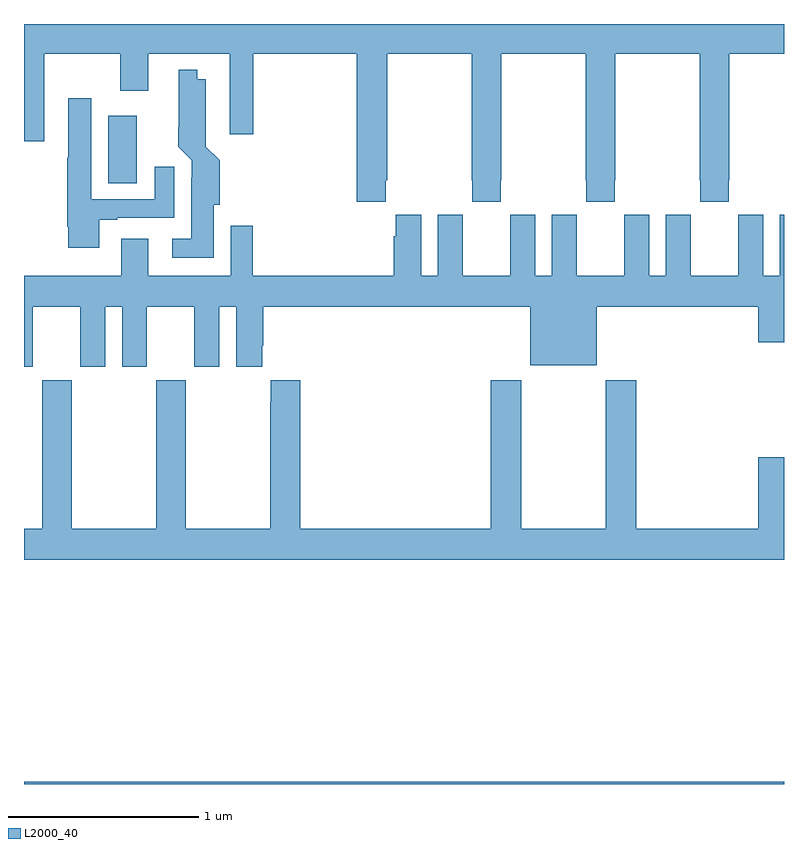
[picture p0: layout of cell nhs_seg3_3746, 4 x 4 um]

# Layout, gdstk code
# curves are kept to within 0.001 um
import gdstk
lib = gdstk.Library(unit=1e-6, precision=1e-09)
def R(c, l, rs):  # rectangles x0, y0, x1, y1
    for r in rs: c.add(gdstk.rectangle(r[:2], r[2:], *l))
def P(c, l, *ps):  # polygons
    for p in ps: c.add(gdstk.Polygon(p, *l))
L2000_40 = (2000, 40)

nhs_seg3_3746 = lib.new_cell('nhs_seg3_3746')
R(nhs_seg3_3746, L2000_40, [(305,702.4,309,702.412), (305.444,705.562,305.593,705.916)])
P(nhs_seg3_3746, L2000_40, [(308.557,705.577),(308.559,705.577),(308.559,705.465),(308.709,705.465),(308.709,705.577),(308.712,705.577),(308.712,706.244),(309,706.244),(309,706.4),(305,706.4),(305,705.783),(305.107,705.783),(305.107,706.244),(305.506,706.244),(305.506,706.05),(305.653,706.05),(305.653,706.244),(306.083,706.244),(306.083,705.819),(306.206,705.819),(306.206,706.244),(306.752,706.244),(306.752,705.465),(306.905,705.465),(306.905,705.577),(306.912,705.577),(306.912,706.244),(307.357,706.244),(307.357,705.577),(307.359,705.577),(307.359,705.465),(307.509,705.465),(307.509,705.577),(307.512,705.577),(307.512,706.244),(307.957,706.244),(307.957,705.577),(307.959,705.577),(307.959,705.465),(308.109,705.465),(308.109,705.577),(308.112,705.577),(308.112,706.244),(308.557,706.244)],
  [(305.998,705.45),(306.029,705.45),(306.029,705.682),(305.957,705.754),(305.956,706.108),(305.911,706.108),(305.911,706.159),(305.814,706.159),(305.813,705.754),(305.883,705.684),(305.883,705.59),(305.879,705.59),(305.879,705.271),(305.781,705.271),(305.781,705.17),(305.998,705.17)],
  [(305.395,705.369),(305.491,705.369),(305.491,705.381),(305.791,705.381),(305.791,705.649),(305.687,705.649),(305.687,705.477),(305.353,705.477),(305.353,706.009),(305.234,706.009),(305.234,705.695),(305.227,705.695),(305.227,705.334),(305.234,705.334),(305.234,705.222),(305.395,705.222)],
  [(309,705.397),(308.978,705.397),(308.978,705.076),(308.89,705.076),(308.89,705.397),(308.76,705.397),(308.76,705.284),(308.759,705.284),(308.759,705.076),(308.509,705.076),(308.509,705.284),(308.508,705.284),(308.508,705.397),(308.378,705.397),(308.378,705.076),(308.29,705.076),(308.29,705.397),(308.16,705.397),(308.16,705.284),(308.159,705.284),(308.159,705.076),(307.909,705.076),(307.909,705.284),(307.908,705.284),(307.908,705.397),(307.778,705.397),(307.778,705.076),(307.69,705.076),(307.69,705.397),(307.56,705.397),(307.56,705.284),(307.559,705.284),(307.559,705.076),(307.309,705.076),(307.309,705.284),(307.308,705.284),(307.308,705.397),(307.178,705.397),(307.178,705.076),(307.09,705.076),(307.09,705.397),(306.956,705.397),(306.956,705.284),(306.947,705.284),(306.947,705.076),(306.203,705.076),(306.203,705.337),(306.087,705.337),(306.087,705.076),(305.653,705.076),(305.653,705.271),(305.513,705.271),(305.513,705.076),(305,705.076),(305,704.595),(305.047,704.595),(305.047,704.912),(305.297,704.912),(305.297,704.595),(305.428,704.595),(305.428,704.912),(305.516,704.912),(305.516,704.595),(305.647,704.595),(305.647,704.912),(305.897,704.912),(305.897,704.595),(306.028,704.595),(306.028,704.912),(306.116,704.912),(306.116,704.595),(306.253,704.595),(306.253,704.707),(306.26,704.707),(306.26,704.912),(307.664,704.912),(307.664,704.603),(308.014,704.603),(308.014,704.912),(308.864,704.912),(308.864,704.724),(309,704.724)],
  [(309,704.119),(308.864,704.119),(308.864,703.744),(308.222,703.744),(308.222,704.524),(308.062,704.524),(308.062,703.744),(307.617,703.744),(307.617,704.524),(307.457,704.524),(307.457,703.744),(306.455,703.744),(306.455,704.524),(306.299,704.524),(306.299,704.411),(306.295,704.411),(306.295,703.744),(305.85,703.744),(305.85,704.524),(305.695,704.524),(305.695,703.744),(305.25,703.744),(305.25,704.524),(305.095,704.524),(305.095,703.744),(305,703.744),(305,703.58),(309,703.58)])

lib.write_gds('nhs_seg3_3746.gds')
